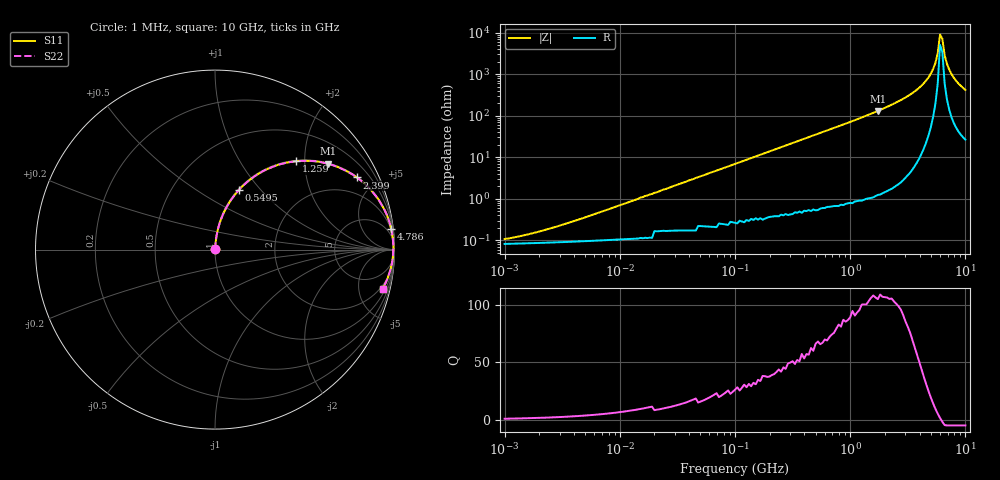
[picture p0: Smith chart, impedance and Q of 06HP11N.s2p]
# MHz S MA R 50
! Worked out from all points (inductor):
!   201 points, 1 MHz to 10 GHz, reference 50 ohm
!   read as one part in series: L = 11 nH near 4.169 MHz
!   highest Q = 107 at 1.738 GHz (marker M1), where L = 12 nH
!   self-resonance near 6.026 GHz
!   S11 on the Smith chart (normalised r, x): 1 MHz: 1.00, +0.00; 549.5 MHz: 1.01, +0.77; 1.259 GHz: 1.02, +1.82; 2.399 GHz: 1.04, +3.91; 4.786 GHz: 2, +17; 10 GHz: 1.53, -8.37
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1  0.0009441 47.0  0.999 -0.0  0.999 -0.0  0.0009441 47.0
4.786  0.003428 74.4  0.999 -0.2  0.999 -0.2  0.003428 74.4
21.878  0.015 83.6  0.998 -0.9  0.998 -0.9  0.015 83.6
104.713  0.072 83.7  0.995 -4.1  0.995 -4.1  0.072 83.7
239.883  0.163 79.3  0.983 -9.4  0.983 -9.4  0.163 79.3
478.63  0.314 70.8  0.944 -18.3  0.944 -18.3  0.314 70.8
549.541  0.356 68.3  0.929 -20.8  0.929 -20.8  0.356 68.3
794.328  0.485 60.3  0.869 -29.0  0.869 -29.0  0.485 60.3
1258.925  0.669 47.4  0.737 -42.0  0.737 -42.0  0.669 47.4
1737.801  0.79 37.3  0.605 -52.2  0.605 -52.2  0.79 37.3
2187.762  0.862 29.9  0.498 -59.6  0.498 -59.6  0.862 29.9
2398.833  0.887 27.0  0.453 -62.5  0.453 -62.5  0.887 27.0
3630.781  0.964 14.5  0.25 -74.6  0.25 -74.6  0.964 14.5
4786.301  0.988 6.7  0.118 -80.9  0.118 -80.9  0.988 6.7
5495.409  0.993 3.0  0.053 -81.0  0.053 -81.0  0.993 3.0
5754.399  0.994 1.8  0.031 -77.4  0.031 -77.4  0.994 1.8
6025.596  0.994 0.5  0.011 -55.2  0.011 -55.2  0.994 0.5
6309.573  0.993 -0.7  0.014 60.6  0.014 60.6  0.993 -0.7
6606.934  0.992 -1.9  0.035 76.0  0.035 76.0  0.992 -1.9
7244.36  0.989 -4.4  0.077 79.4  0.077 79.4  0.989 -4.4
8317.638  0.979 -8.1  0.142 77.6  0.142 77.6  0.979 -8.1
10000  0.959 -13.2  0.229 73.2  0.229 73.2  0.959 -13.2
